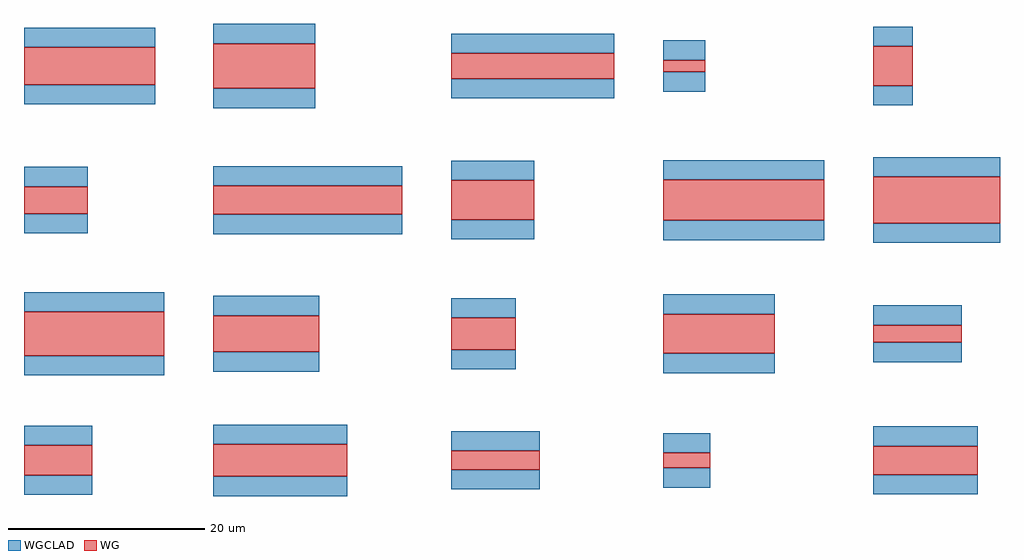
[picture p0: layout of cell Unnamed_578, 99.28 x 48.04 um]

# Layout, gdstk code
import gdstk
lib = gdstk.Library(unit=1e-6, precision=1e-09)
def R(c, l, rs):  # rectangles x0, y0, x1, y1
    for r in rs: c.add(gdstk.rectangle(r[:2], r[2:], *l))
WG = (1, 0)
WGCLAD = (111, 0)

straight_w3052_l6956_lwg = lib.new_cell('straight_W3052_L6956_LWG_EWGSTD')
R(straight_w3052_l6956_lwg, WG, [(0,-1.526,6.956,1.526)])
R(straight_w3052_l6956_lwg, WGCLAD, [(0,-3.526,6.956,-1.526), (0,1.526,6.956,3.526)])

straight_w1190_l4275_lwg = lib.new_cell('straight_W1190_L4275_LWG_EWGSTD')
R(straight_w1190_l4275_lwg, WG, [(0,-0.595,4.275,0.595)])
R(straight_w1190_l4275_lwg, WGCLAD, [(0,-2.595,4.275,-0.595), (0,0.595,4.275,2.595)])

straight_w1772_l9008_lwg = lib.new_cell('straight_W1772_L9008_LWG_EWGSTD')
R(straight_w1772_l9008_lwg, WG, [(0,-0.886,9.008,0.886)])
R(straight_w1772_l9008_lwg, WGCLAD, [(0,-2.886,9.008,-0.886), (0,0.886,9.008,2.886)])

straight_w3284_l13624_lw = lib.new_cell('straight_W3284_L13624_LWG_EWGSTD')
R(straight_w3284_l13624_lw, WG, [(0,-1.642,13.624,1.642)])
R(straight_w3284_l13624_lw, WGCLAD, [(0,-3.642,13.624,-1.642), (0,1.642,13.624,3.642)])

straight_w3808_l13363_lw = lib.new_cell('straight_W3808_L13363_LWG_EWGSTD')
R(straight_w3808_l13363_lw, WG, [(0,-1.904,13.363,1.904)])
R(straight_w3808_l13363_lw, WGCLAD, [(0,-3.904,13.363,-1.904), (0,1.904,13.363,3.904)])

straight_w1930_l9000_lwg = lib.new_cell('straight_W1930_L9000_LWG_EWGSTD')
R(straight_w1930_l9000_lwg, WG, [(0,-0.965,9,0.965)])
R(straight_w1930_l9000_lwg, WGCLAD, [(0,-2.965,9,-0.965), (0,0.965,9,2.965)])

straight_w1540_l4786_lwg = lib.new_cell('straight_W1540_L4786_LWG_EWGSTD')
R(straight_w1540_l4786_lwg, WG, [(0,-0.77,4.786,0.77)])
R(straight_w1540_l4786_lwg, WGCLAD, [(0,-2.77,4.786,-0.77), (0,0.77,4.786,2.77)])

straight_w2908_l10617_lw = lib.new_cell('straight_W2908_L10617_LWG_EWGSTD')
R(straight_w2908_l10617_lw, WG, [(0,-1.454,10.617,1.454)])
R(straight_w2908_l10617_lw, WGCLAD, [(0,-3.454,10.617,-1.454), (0,1.454,10.617,3.454)])

straight_w4714_l12900_lw = lib.new_cell('straight_W4714_L12900_LWG_EWGSTD')
R(straight_w4714_l12900_lw, WG, [(0,-2.357,12.9,2.357)])
R(straight_w4714_l12900_lw, WGCLAD, [(0,-4.357,12.9,-2.357), (0,2.357,12.9,4.357)])

straight_w4470_l14256_lw = lib.new_cell('straight_W4470_L14256_LWG_EWGSTD')
R(straight_w4470_l14256_lw, WG, [(0,-2.235,14.256,2.235)])
R(straight_w4470_l14256_lw, WGCLAD, [(0,-4.235,14.256,-2.235), (0,2.235,14.256,4.235)])

straight_w4002_l4038_lwg = lib.new_cell('straight_W4002_L4038_LWG_EWGSTD')
R(straight_w4002_l4038_lwg, WG, [(0,-2.001,4.038,2.001)])
R(straight_w4002_l4038_lwg, WGCLAD, [(0,-4.001,4.038,-2.001), (0,2.001,4.038,4.001)])

straight_w3686_l10777_lw = lib.new_cell('straight_W3686_L10777_LWG_EWGSTD')
R(straight_w3686_l10777_lw, WG, [(0,-1.843,10.777,1.843)])
R(straight_w3686_l10777_lw, WGCLAD, [(0,-3.843,10.777,-1.843), (0,1.843,10.777,3.843)])

straight_w4570_l10358_lw = lib.new_cell('straight_W4570_L10358_LWG_EWGSTD')
R(straight_w4570_l10358_lw, WG, [(0,-2.285,10.358,2.285)])
R(straight_w4570_l10358_lw, WGCLAD, [(0,-4.285,10.358,-2.285), (0,2.285,10.358,4.285)])

straight_w3260_l6535_lwg = lib.new_cell('straight_W3260_L6535_LWG_EWGSTD')
R(straight_w3260_l6535_lwg, WG, [(0,-1.63,6.535,1.63)])
R(straight_w3260_l6535_lwg, WGCLAD, [(0,-3.63,6.535,-1.63), (0,1.63,6.535,3.63)])

straight_w4118_l16358_lw = lib.new_cell('straight_W4118_L16358_LWG_EWGSTD')
R(straight_w4118_l16358_lw, WG, [(0,-2.059,16.358,2.059)])
R(straight_w4118_l16358_lw, WGCLAD, [(0,-4.059,16.358,-2.059), (0,2.059,16.358,4.059)])

straight_w4004_l11347_lw = lib.new_cell('straight_W4004_L11347_LWG_EWGSTD')
R(straight_w4004_l11347_lw, WG, [(0,-2.002,11.347,2.002)])
R(straight_w4004_l11347_lw, WGCLAD, [(0,-4.002,11.347,-2.002), (0,2.002,11.347,4.002)])

straight_w2748_l6498_lwg = lib.new_cell('straight_W2748_L6498_LWG_EWGSTD')
R(straight_w2748_l6498_lwg, WG, [(0,-1.374,6.498,1.374)])
R(straight_w2748_l6498_lwg, WGCLAD, [(0,-3.374,6.498,-1.374), (0,1.374,6.498,3.374)])

straight_w2914_l19215_lw = lib.new_cell('straight_W2914_L19215_LWG_EWGSTD')
R(straight_w2914_l19215_lw, WG, [(0,-1.457,19.215,1.457)])
R(straight_w2914_l19215_lw, WGCLAD, [(0,-3.457,19.215,-1.457), (0,1.457,19.215,3.457)])

straight_w2562_l16552_lw = lib.new_cell('straight_W2562_L16552_LWG_EWGSTD')
R(straight_w2562_l16552_lw, WG, [(0,-1.281,16.552,1.281)])
R(straight_w2562_l16552_lw, WGCLAD, [(0,-3.281,16.552,-1.281), (0,1.281,16.552,3.281)])

straight_w4002_l8446_lwg = lib.new_cell('straight_W4002_L8446_LWG_EWGSTD')
R(straight_w4002_l8446_lwg, WG, [(0,-2.001,8.446,2.001)])
R(straight_w4002_l8446_lwg, WGCLAD, [(0,-4.001,8.446,-2.001), (0,2.001,8.446,4.001)])

unnamed_578 = lib.new_cell('Unnamed_578')
unnamed_578.add(gdstk.Reference(straight_w3052_l6956_lwg, (0,8.642)))
unnamed_578.add(gdstk.Reference(straight_w1190_l4275_lwg, (65.023,48.753)))
unnamed_578.add(gdstk.Reference(straight_w1772_l9008_lwg, (86.381,21.519)))
unnamed_578.add(gdstk.Reference(straight_w3284_l13624_lw, (19.256,8.642)))
unnamed_578.add(gdstk.Reference(straight_w3808_l13363_lw, (0,48.753)))
unnamed_578.add(gdstk.Reference(straight_w1930_l9000_lwg, (43.471,8.642)))
unnamed_578.add(gdstk.Reference(straight_w1540_l4786_lwg, (65.023,8.642)))
unnamed_578.add(gdstk.Reference(straight_w2908_l10617_lw, (86.381,8.642)))
unnamed_578.add(gdstk.Reference(straight_w4714_l12900_lw, (86.381,35.111)))
unnamed_578.add(gdstk.Reference(straight_w4470_l14256_lw, (0,21.519)))
unnamed_578.add(gdstk.Reference(straight_w4002_l4038_lwg, (86.381,48.753)))
unnamed_578.add(gdstk.Reference(straight_w3686_l10777_lw, (19.256,21.519)))
unnamed_578.add(gdstk.Reference(straight_w4570_l10358_lw, (19.256,48.753)))
unnamed_578.add(gdstk.Reference(straight_w3260_l6535_lwg, (43.471,21.519)))
unnamed_578.add(gdstk.Reference(straight_w4118_l16358_lw, (65.023,35.111)))
unnamed_578.add(gdstk.Reference(straight_w4004_l11347_lw, (65.023,21.519)))
unnamed_578.add(gdstk.Reference(straight_w2748_l6498_lwg, (0,35.111)))
unnamed_578.add(gdstk.Reference(straight_w2914_l19215_lw, (19.256,35.111)))
unnamed_578.add(gdstk.Reference(straight_w2562_l16552_lw, (43.471,48.753)))
unnamed_578.add(gdstk.Reference(straight_w4002_l8446_lwg, (43.471,35.111)))

lib.write_gds('Unnamed_578.gds')
